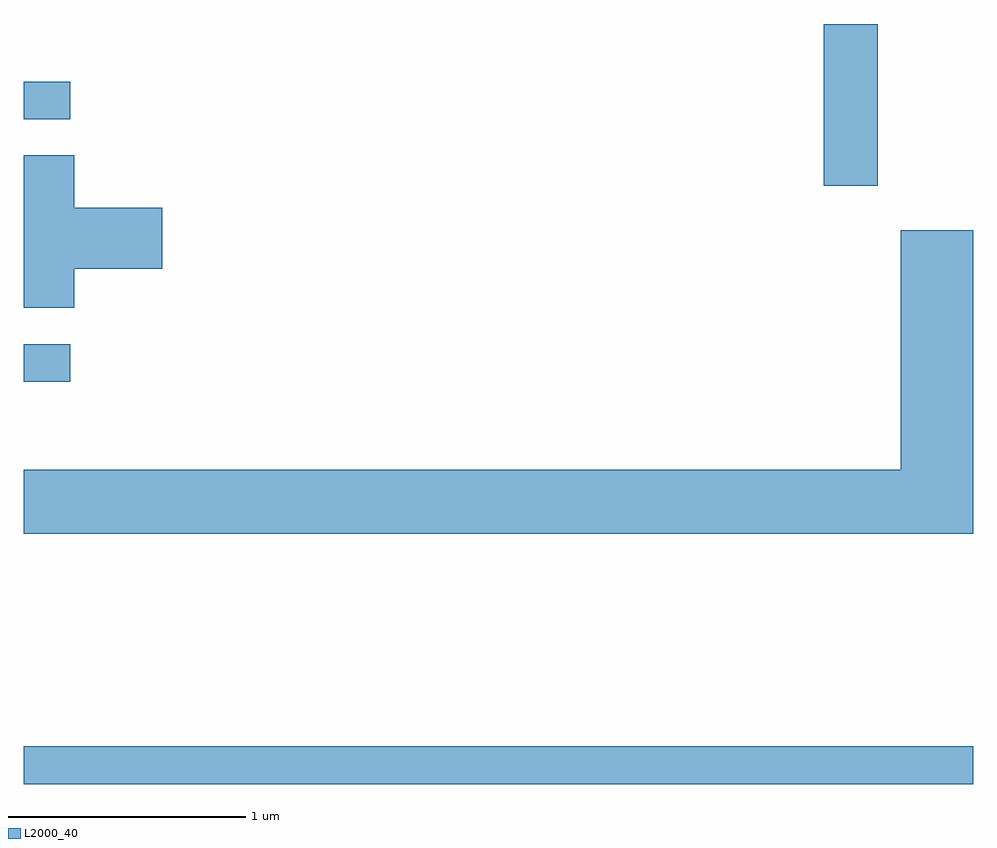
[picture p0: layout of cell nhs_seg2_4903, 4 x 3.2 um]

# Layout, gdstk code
import gdstk
lib = gdstk.Library(unit=1e-6, precision=1e-09)
def R(c, l, rs):  # rectangles x0, y0, x1, y1
    for r in rs: c.add(gdstk.rectangle(r[:2], r[2:], *l))
def P(c, l, *ps):  # polygons
    for p in ps: c.add(gdstk.Polygon(p, *l))
L2000_40 = (2000, 40)

nhs_seg2_4903 = lib.new_cell('nhs_seg2_4903')
R(nhs_seg2_4903, L2000_40, [(329.611,1040.601,333.611,1040.759), (329.611,1042.296,329.808,1042.454), (332.981,1043.121,333.209,1043.802), (329.611,1043.401,329.808,1043.559)])
P(nhs_seg2_4903, L2000_40, [(329.824,1042.771),(330.194,1042.771),(330.194,1043.029),(329.824,1043.029),(329.824,1043.249),(329.611,1043.249),(329.611,1042.606),(329.824,1042.606)],
  [(333.611,1042.934),(333.306,1042.934),(333.306,1041.924),(329.611,1041.924),(329.611,1041.656),(333.611,1041.656)])

lib.write_gds('nhs_seg2_4903.gds')
